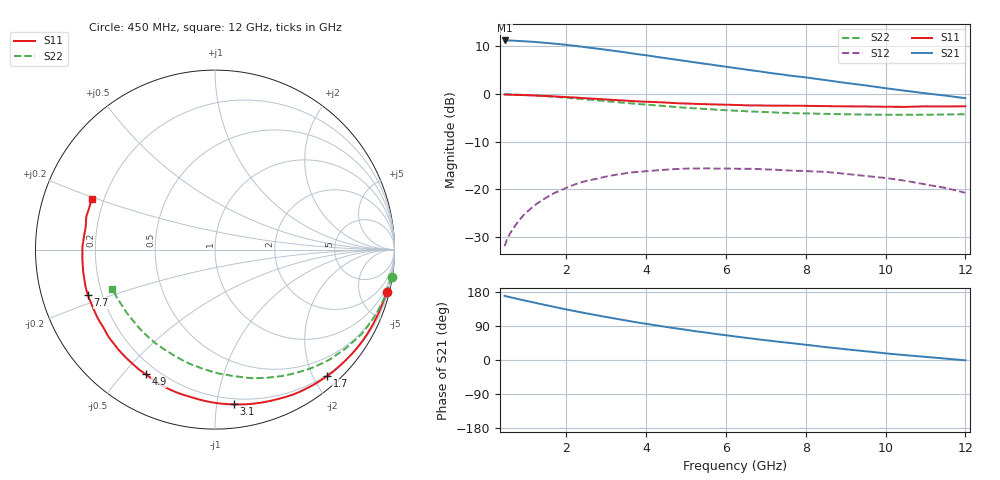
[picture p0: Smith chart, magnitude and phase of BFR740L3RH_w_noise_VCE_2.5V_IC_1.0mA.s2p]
! (c) 2012  Infineon Technologies AG, Munich
! Infineon Technologies  Discrete & RF Semiconductors
! BFR740L3RH
! VCE =  2.5 V,  IC =  1.0 mA
! Common Emitter S-Parameters:  May 2012
# GHz  S  MA  R  50
!  f  S11  S21  S12  S22
! GHz  MAG  ANG  MAG  ANG  MAG  ANG  MAG  ANG
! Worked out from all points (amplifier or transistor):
!   85 points, 450 MHz to 12 GHz, reference 50 ohm
!   highest |S21| = 11.2 dB at 450 MHz (marker M1)
!   |S21| within 3 dB of that: start of sweep to 3.891 GHz
!   unconditionally stable (mu >= 1): 10.42 GHz to end of sweep
!   at 1.8 GHz: K = 0.10, MSG = 15.4 dB, |S12| = -20.4 dB
!   at 4.6 GHz: K = 0.26, MSG = 11.6 dB, |S12| = -15.8 dB
!   at 12 GHz: K = 1.59, MAG = 5.4 dB, |S12| = -20.7 dB
!   lowest NFmin = 0.29 dB at 450 MHz
!   S11 on the Smith chart (normalised r, x): 450 MHz: 0.50, -8.29; 1.7 GHz: 0.18, -2.21; 3.1 GHz: 0.16, -1.12; 4.9 GHz: 0.15, -0.58; 7.7 GHz: 0.15, -0.17; 12 GHz: 0.15, +0.19
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0.45  0.9858 -13.7  3.637 169.3  0.0253 72.2  0.9956 -8.8
0.7  0.978 -20.6  3.614 163.0  0.0406 74.4  0.985 -13.7
1.1  0.9664 -31.9  3.532 153.6  0.0624 66.5  0.9683 -21.1
1.4  0.9541 -40.3  3.454 146.7  0.0772 60.5  0.9517 -26.6
1.7  0.9419 -48.5  3.366 140.0  0.0915 55.2  0.9335 -32.0
2  0.9267 -56.5  3.27 133.4  0.1036 49.3  0.9122 -37.2
2.4  0.9048 -66.6  3.123 125.1  0.1193 42.1  0.8847 -43.9
2.7  0.8894 -73.8  3.01 119.2  0.1274 37.0  0.8618 -48.5
3.1  0.8684 -83.1  2.864 111.5  0.1387 30.7  0.8318 -54.6
3.4  0.8545 -89.7  2.757 106.0  0.1454 25.4  0.8104 -59.1
3.8  0.8348 -98.2  2.603 98.7  0.152 19.6  0.7837 -64.8
4.3  0.8189 -108.0  2.432 90.5  0.1586 12.8  0.7545 -71.6
4.9  0.7946 -119.0  2.241 81.2  0.164 4.9  0.7203 -79.4
5.3  0.7843 -126.0  2.119 75.0  0.1653 -0.2  0.7019 -84.3
5.7  0.7763 -132.4  2.008 69.4  0.1649 -5.0  0.6866 -89.4
6.3  0.7653 -141.5  1.852 61.2  0.164 -11.6  0.665 -96.7
6.9  0.7562 -150.2  1.709 53.3  0.1621 -18.2  0.6476 -104.0
7.7  0.7515 -160.3  1.54 43.8  0.1566 -26.2  0.6281 -113.4
8.5  0.7446 -170.6  1.396 34.0  0.1521 -34.9  0.6179 -122.6
9.5  0.7389 178.9  1.228 23.1  0.1379 -45.4  0.6077 -133.8
10.5  0.7314 169.7  1.078 12.7  0.1226 -56.1  0.6045 -144.4
12  0.7421 157.9  0.902 -0.8  0.0918 -71.3  0.6117 -159.2
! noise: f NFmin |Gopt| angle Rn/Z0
0.45  0.29  0.92  6  0.48
0.9  0.32  0.91  18  0.46
1.5  0.4  0.89  31  0.42
1.9  0.48  0.84  40  0.4
2.4  0.57  0.79  49  0.38
3.5  0.79  0.75  68  0.33
5.5  1.16  0.78  97  0.21
8  1.59  0.72  139  0.09
10  1.91  0.71  161  0.05
12  2.2  0.81  -162  0.04
